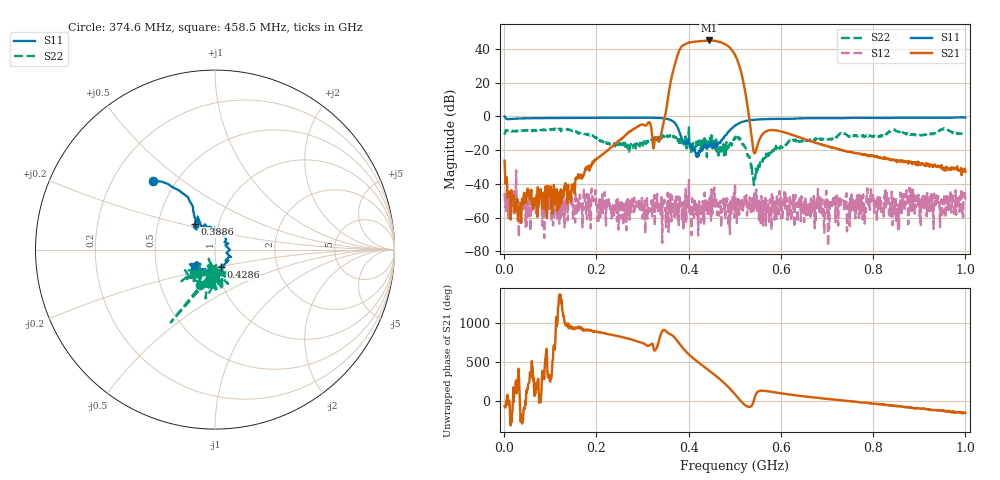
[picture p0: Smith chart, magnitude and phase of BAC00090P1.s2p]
!measured: 2026-10-29T11:14:23
!cal_instance: BB
!cal_created: 2026-10-29T10:46
!cal_file: SOLT_12_1_00M-1_00G_1001pt.cal
!port1_delay_ps: 0.0
!port2_delay_ps: 0.0
!host: lindon
! Created with skrf 2.1.0 (http://scikit-rf.org).
# Hz S RI R 50.0
!freq ReS11 ImS11 ReS21 ImS21 ReS12 ImS12 ReS22 ImS22
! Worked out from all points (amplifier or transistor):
!   1001 points, 1 MHz to 1 GHz, reference 50 ohm
!   highest |S21| = 45.1 dB at 443.6 MHz (marker M1)
!   |S21| within 3 dB of that: 387.4 MHz to 483.8 MHz (96.42 MHz wide, 22.1 % of centre)
!   unconditionally stable (mu >= 1): start of sweep to 393.6 MHz; 459.6 MHz to 500.3 MHz; 500.8 MHz to end of sweep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
!   at 166.8 MHz: K = 1532.70, MAG = -26.5 dB, |S12| = -51.1 dB
!   at 500.5 MHz: K = 0.74, MSG = 38.1 dB, |S12| = -39.7 dB
!   at 1 GHz: K = 959.20, MAG = -23.7 dB, |S12| = -50.9 dB
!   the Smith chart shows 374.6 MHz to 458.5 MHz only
!   S11 on the Smith chart (normalised r, x): 374.6 MHz: 0.37, +0.39; 388.6 MHz: 0.77, +0.23; 428.6 MHz: 1.05, -0.21; 458.5 MHz: 0.78, -0.15
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1000000  -0.3823 0.9214  0.0215 -0.0439  0.0053 0.00105  0.2884 -0.0117
1.67833e8  0.5639 -0.7099  -0.0145 -0.00317  -0.00206 0.00114  -0.00689 -0.3081
3.34666e8  -0.721 -0.5473  0.1644 0.0843  -0.00146 -0.000439  0.0793 -0.238
3.64636e8  -0.7138 0.2094  -8.106 16.23  0.000252 -0.00355  -0.0174 -0.2555
3.74626e8  -0.346 0.3832  34.09 44.96  0.00154 0.000508  -0.0836 -0.196
3.82618e8  -0.124 0.2417  106.3 -15.83  -0.00134 0.00133  -0.1315 -0.1505
3.88612e8  -0.112 0.1427  82.16 -100.7  0.000245 0.000338  -0.1311 -0.124
3.98602e8  -0.1045 0.134  -62.29 -137.7  0.00224 0.00135  -0.0533 -0.2058
4.09591e8  0.00154 0.1052  -160.5 -23.39  -0.00104 0.000424  0.00936 -0.1558
4.18582e8  0.0579 0.0246  -136.6 95.94  -0.00149 0.00177  -0.0376 -0.1712
4.28572e8  0.0334 -0.0988  -31.05 169.6  -0.00135 -0.00235  0.00383 -0.2151
4.43557e8  -0.0609 -0.1103  148.7 100  -0.000747 -0.00105  -0.0246 -0.1275
4.51549e8  -0.0822 -0.0849  177.6 -8.26  -0.000592 -0.00118  0.00857 -0.1352
4.58542e8  -0.1144 -0.0941  140.6 -100.8  0.000555 0.00262  -0.0159 -0.1128
4.69531e8  -0.1672 -0.0369  2.347 -158.3  -0.000191 -0.00321  0.0461 -0.1359
4.81519e8  -0.2474 0.1406  -118 -61.24  0.00117 -0.00294  0.0392 -0.1618
4.92508e8  -0.1715 0.3929  -77.25 60.9  -0.000984 -0.00089  -0.0213 -0.1459
5.005e8  -0.0104 0.5215  1.324 66.73  -0.00364 -0.00967  -0.0285 -0.2166
5.18482e8  0.4931 0.5059  9.217 -5.518  0.0022 -0.000808  -0.1204 -0.0807
6.67333e8  0.3582 -0.8132  0.1123 0.1381  -0.000221 -0.00185  0.1177 -0.1591
8.34166e8  -0.2105 -0.8767  0.0365 -0.0424  -0.000232 0.00133  0.0132 -0.3632
1e9  -0.5657 -0.7352  -0.0205 -0.0111  -0.00203 -0.002  -0.0829 -0.2846
